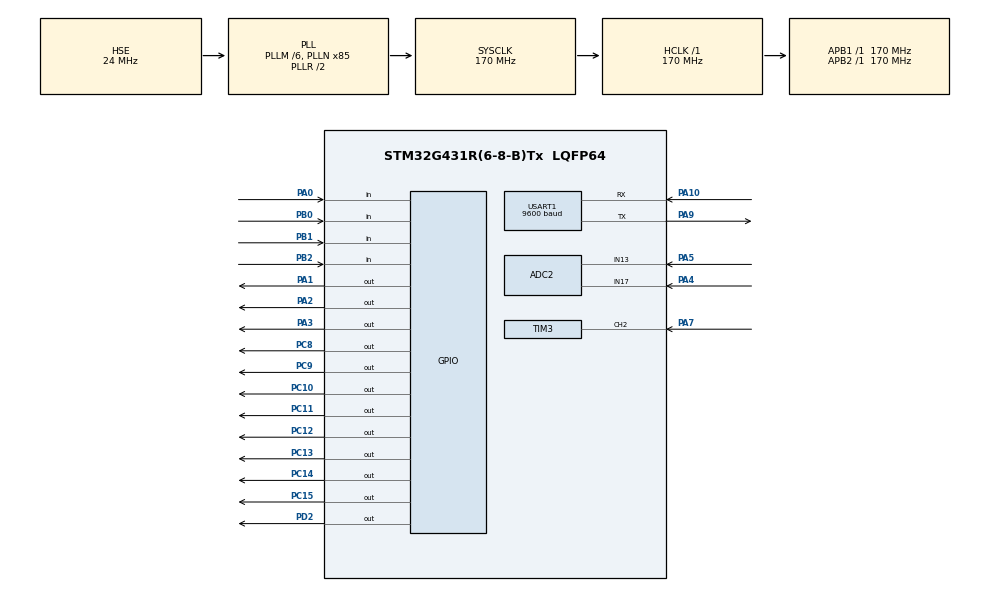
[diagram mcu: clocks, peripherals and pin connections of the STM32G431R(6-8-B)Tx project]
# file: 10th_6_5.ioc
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ADC2.Channel-0\#ChannelRegularConversion=ADC_CHANNEL_17
ADC2.Channel-1\#ChannelRegularConversion=ADC_CHANNEL_13
ADC2.DataAlign=ADC_DATAALIGN_RIGHT
ADC2.DiscontinuousConvMode=ENABLE
ADC2.EnableInjectedConversion=ENABLE
ADC2.InjNumberOfConversion=0
ADC2.NbrOfConversion=2
ADC2.NbrOfConversionFlag=1
ADC2.OffsetNumber-0\#ChannelRegularConversion=ADC_OFFSET_NONE
ADC2.OffsetNumber-1\#ChannelRegularConversion=ADC_OFFSET_NONE
ADC2.Rank-0\#ChannelRegularConversion=1
ADC2.Rank-1\#ChannelRegularConversion=2
ADC2.SamplingTime-0\#ChannelRegularConversion=ADC_SAMPLETIME_47CYCLES_5
ADC2.SamplingTime-1\#ChannelRegularConversion=ADC_SAMPLETIME_47CYCLES_5
Mcu.Family=STM32G4
Mcu.Name=STM32G431R(6-8-B)Tx
Mcu.Package=LQFP64
NVIC.PriorityGroup=NVIC_PRIORITYGROUP_4
NVIC.TIM1_UP_TIM16_IRQn=true\:0\:0\:false\:false\:true\:true\:true\:true
NVIC.TIM3_IRQn=true\:0\:0\:false\:false\:true\:true\:true\:true
NVIC.USART1_IRQn=true\:0\:0\:false\:false\:true\:true\:true\:true
PA0.Signal=GPIO_Input
PA1.Signal=GPIO_Output
PA10.Mode=Asynchronous
PA10.Signal=USART1_RX
PA2.Signal=GPIO_Output
PA3.Signal=GPIO_Output
PA4.Mode=IN17-Single-Ended
PA4.Signal=ADC2_IN17
PA5.Mode=IN13-Single-Ended
PA5.Signal=ADC2_IN13
PA7.Signal=S_TIM3_CH2
PA9.Mode=Asynchronous
PA9.Signal=USART1_TX
PB0.Signal=GPIO_Input
PB1.Signal=GPIO_Input
PB2.Signal=GPIO_Input
PC10.Signal=GPIO_Output
PC11.Signal=GPIO_Output
PC12.Signal=GPIO_Output
PC13.Signal=GPIO_Output
PC14-OSC32_IN.Signal=GPIO_Output
PC15-OSC32_OUT.Signal=GPIO_Output
PC8.Signal=GPIO_Output
PC9.Signal=GPIO_Output
PD2.Signal=GPIO_Output
PF0-OSC_IN.Mode=HSE-External-Oscillator
PF0-OSC_IN.Signal=RCC_OSC_IN
PF1-OSC_OUT.Mode=HSE-External-Oscillator
PF1-OSC_OUT.Signal=RCC_OSC_OUT
ProjectManager.HeapSize=0x200
ProjectManager.StackSize=0x400
ProjectManager.TargetToolchain=MDK-ARM V5.32
RCC.ADC12Freq_Value=170000000
RCC.AHBFreq_Value=170000000
RCC.APB1Freq_Value=170000000
RCC.APB1TimFreq_Value=170000000
RCC.APB2Freq_Value=170000000
RCC.APB2TimFreq_Value=170000000
RCC.CortexFreq_Value=170000000
RCC.EXTERNAL_CLOCK_VALUE=12288000
RCC.HCLKFreq_Value=170000000
RCC.HSE_VALUE=24000000
RCC.HSI48_VALUE=48000000
RCC.HSI_VALUE=16000000
RCC.LSE_VALUE=32768
RCC.PLLM=RCC_PLLM_DIV6
RCC.PLLN=85
RCC.PLLSourceVirtual=RCC_PLLSOURCE_HSE
RCC.SYSCLKFreq_VALUE=170000000
RCC.SYSCLKSource=RCC_SYSCLKSOURCE_PLLCLK
RCC.USBFreq_Value=170000000
RCC.VCOOutputFreq_Value=340000000
SH.S_TIM3_CH2.0=TIM3_CH2,Input_Capture2_from_TI2
TIM1.PeriodNoDither=9999
TIM1.Prescaler=169
TIM3.Channel-Input_Capture2_from_TI2=TIM_CHANNEL_2
USART1.BaudRate=9600
USART1.VirtualMode-Asynchronous=VM_ASYNC
VP_SYS_VS_DBSignals.Mode=DisableDeadBatterySignals
VP_TIM1_VS_ClockSourceINT.Mode=Internal
board=custom

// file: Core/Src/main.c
/* USER CODE BEGIN Header */
/**
  ******************************************************************************
  * @file           : main.c
  * @brief          : Main program body
  ******************************************************************************
  * @attention
  *
  * Copyright (c) 2023 STMicroelectronics.
  * All rights reserved.
  *
  * This software is licensed under terms that can be found in the LICENSE file
  * in the root directory of this software component.
  * If no LICENSE file comes with this software, it is provided AS-IS.
  *
  ******************************************************************************
  */
/* USER CODE END Header */
#include "main.h"
#include "adc.h"
#include "tim.h"
#include "usart.h"
#include "gpio.h"

/* USER CODE BEGIN Includes */

#include "stdio.h"
#include "i2c_hal.h"
#include "lcd.h"
#include "string.h"
#include "ds18b20_hal.h"

/* USER CODE END Includes */

/* USER CODE BEGIN PTD */
int
		Change_N,
		Key_presst[4]={0};
float
		Voltage_pa4,
		Voltage_pa5,
		Temp,
		Duty_pa7
		;
char
		Temp_maxT,
		Compare_X,
		Temp_lastmaxX,
		Compare_lastT,
		Flag_interface=0,
		Key_state=0,
		line[10][21];
uint8_t
		Rx_buff,
		Change_Nl,
		Change_Nh,
		Flag_nixie=0,
		Flag_highlight=2;
	static float Ic_state=0,value1,value2,value3;
#define SERH HAL_GPIO_WritePin(GPIOA,GPIO_PIN_1,GPIO_PIN_SET)
#define SERL HAL_GPIO_WritePin(GPIOA,GPIO_PIN_1,GPIO_PIN_RESET)

#define SCKH HAL_GPIO_WritePin(GPIOA,GPIO_PIN_3,GPIO_PIN_SET)
#define SCKL HAL_GPIO_WritePin(GPIOA,GPIO_PIN_3,GPIO_PIN_RESET)

#define RCKH HAL_GPIO_WritePin(GPIOA,GPIO_PIN_2,GPIO_PIN_SET)
#define RCKL HAL_GPIO_WritePin(GPIOA,GPIO_PIN_2,GPIO_PIN_RESET)

const uint8_t Nixie_buff[] = {0x3F,0x06,0x5B,0x4F,0x66,0x6D,0x7D,0x07,0x7F,0x6F,0x77,0x7c,0x39};

/* USER CODE END PTD */

void SystemClock_Config(void);
/* USER CODE BEGIN PFP */

float Get_voltage(void)
{
	float value;
	value=HAL_ADC_GetValue(&hadc2);
	HAL_ADC_Start_IT(&hadc2);
	return value*3.3f/4096.0f;
}

void Nixie(uint8_t a,uint8_t b,uint8_t c,uint8_t d)
{
	int value;
	if(d==1)value=(Nixie_buff[c]<<16) | (Nixie_buff[b]<<8) | Nixie_buff[a] | 0x80;
	else if(d==2)value=(Nixie_buff[c]<<16) | (Nixie_buff[b]<<8) | Nixie_buff[a] | 0x80<<8;
	else if(d==3)value=(Nixie_buff[c]<<16) | (Nixie_buff[b]<<8) | Nixie_buff[a] | 0x80<<16;
	else value=(Nixie_buff[c]<<16) | (Nixie_buff[b]<<8) | Nixie_buff[a];
	for(uint8_t i=0;i<24;i++)
	{
		if(value & 0x800000)
			SERH;
		else
			SERL;
		SCKH;
		SCKL;
		value<<=1;
	}
	RCKH;
	RCKL;
}

void Highlight(uint8_t linenum)
{
	char i=0;
	for(;i<linenum;i++)
	LCD_DisplayStringLine(i*24,(uint8_t *)line[i]);
	LCD_SetBackColor(Yellow);
	LCD_DisplayStringLine(i*24,(uint8_t *)line[i]);
	LCD_SetBackColor(Black);
	for(i=i+1;i<10;i++)
	LCD_DisplayStringLine(i*24,(uint8_t *)line[i]);
}

void Data_interface(void)
{
	sprintf(line[0],"       Main         ");
	sprintf(line[1],"                    ");
	sprintf(line[2],"   AO1:%.1f            ",Voltage_pa4);
	sprintf(line[3],"   AO2:%.1f            ",Voltage_pa5);
	sprintf(line[4],"   PWM2:%d%%           ",(int)(Duty_pa7*100.0f));

	sprintf(line[5],"   Temp:%.2f         ",Temp);
	sprintf(line[6],"   N:%d               ",Change_N);
	sprintf(line[7],"%.1f %.1f             ",value1,value2);
	sprintf(line[8],"%.1f %.2f               ",value3,Duty_pa7);
	sprintf(line[9],"                    ");
}

void Para_interface(void)
{
	sprintf(line[0],"       Para         ");
	sprintf(line[1],"                    ");
	sprintf(line[2],"   T:%d              ",Temp_maxT);
	sprintf(line[3],"   X:AO%d            ",Compare_X);
	sprintf(line[4],"                    ");

	sprintf(line[5],"                    ");
	sprintf(line[6],"                    ");
	sprintf(line[7],"                    ");
	sprintf(line[8],"                    ");
	sprintf(line[9],"                    ");
}

void Lcd_dis(void)
{
	for(char i=0;i<10;i++)
	LCD_DisplayStringLine(i*24,(uint8_t *)line[i]);
}

uint8_t Key_scan(void)
{
			 if(HAL_GPIO_ReadPin(GPIOB,GPIO_PIN_0)==0)Key_presst[0]++;
	else if(HAL_GPIO_ReadPin(GPIOB,GPIO_PIN_0)==1 && Key_presst[0]>=5){Key_presst[0]=0;return 1;}
	else if(HAL_GPIO_ReadPin(GPIOB,GPIO_PIN_1)==0)Key_presst[1]++;
	else if(HAL_GPIO_ReadPin(GPIOB,GPIO_PIN_1)==1 && Key_presst[1]>=5){Key_presst[1]=0;return 2;}
	else if(HAL_GPIO_ReadPin(GPIOB,GPIO_PIN_2)==0 && Key_presst[2]>=70){Key_presst[2]++;return 5;}
	else if(HAL_GPIO_ReadPin(GPIOB,GPIO_PIN_2)==0)Key_presst[2]++;
	else if(HAL_GPIO_ReadPin(GPIOB,GPIO_PIN_2)==1 && Key_presst[2]>=5){Key_presst[2]=0;return 3;}
	else if(HAL_GPIO_ReadPin(GPIOA,GPIO_PIN_0)==0 && Key_presst[3]>=70){Key_presst[3]++;return 6;}
	else if(HAL_GPIO_ReadPin(GPIOA,GPIO_PIN_0)==0)Key_presst[3]++;
	else if(HAL_GPIO_ReadPin(GPIOA,GPIO_PIN_0)==1 && Key_presst[3]>=5){Key_presst[3]=0;return 4;}
	else {Key_presst[0]=0,Key_presst[1]=0,Key_presst[2]=0,Key_presst[3]=0;}
	return 0;
}

void Write_rom(uint8_t add,uint8_t value)
{
	I2CStart();
	I2CSendByte(0xa0);
	I2CWaitAck();

	I2CSendByte(add);
	I2CWaitAck();

	I2CSendByte(value);
	I2CWaitAck();
	I2CStop();
}

uint8_t Read_rom(uint8_t add)
{
	uint8_t value;
	I2CStart();
	I2CSendByte(0xa0);
	I2CWaitAck();

	I2CSendByte(add);
	I2CWaitAck();

	I2CStart();
	I2CSendByte(0xa1);
	I2CWaitAck();

	value=I2CReceiveByte();
	I2CWaitAck();
	I2CStop();
	return value;
}

void HAL_TIM_IC_CaptureCallback(TIM_HandleTypeDef *htim)
{
	static int valuehigh,valuelow;
	if(htim==&htim3)
	{
		if(Ic_state==0)
		{
			value1=__HAL_TIM_GET_COMPARE(&htim3,TIM_CHANNEL_2);//xia
			Ic_state=1;
			if(value1>value3)valuehigh=value1-value3;
			else valuehigh=65535+value1-value3;
		}
		else if(Ic_state==1)
		{

			value2=__HAL_TIM_GET_COMPARE(&htim3,TIM_CHANNEL_2);//xia
			__HAL_TIM_SET_CAPTUREPOLARITY(&htim3,TIM_CHANNEL_2,TIM_TRIGGERPOLARITY_FALLING);
			Duty_pa7=valuehigh*1.0f/((valuehigh+valuelow)*1.0f);
			Ic_state=2;
		}
		else if(Ic_state==2)
		{

			value3=__HAL_TIM_GET_COMPARE(&htim3,TIM_CHANNEL_2);//shang
			__HAL_TIM_SET_CAPTUREPOLARITY(&htim3,TIM_CHANNEL_2,TIM_TRIGGERPOLARITY_RISING);
			if(value3>value2)valuelow=value3-value2;
			else valuelow=value3-value2+65535;
			Ic_state=0;
		}
	}
}

void HAL_TIM_PeriodElapsedCallback(TIM_HandleTypeDef *htim)
{
	static uint8_t keyt=0,nixiet=0,uartt=0,adct=0;
	uint8_t TXT[30];
	if(htim==&htim1)
	{
		Key_state=Key_scan();
		if(Key_state==1)Flag_interface=!Flag_interface;
		else if(Key_state==2 && Flag_interface)Flag_highlight=++Flag_highlight>3?2:Flag_highlight;
		else if(Key_state==3 && Flag_interface && Flag_highlight==2)
		{
			Temp_maxT++;
			if(Temp_maxT>40)Temp_maxT=40;
		}
		else if(Key_state==3 && Flag_interface && Flag_highlight==3)Compare_X=++Compare_X>2?1:Compare_X;
		else if(Key_state==4 && Flag_interface && Flag_highlight==2)
		{
			Temp_maxT--;
			if(Temp_maxT<20)Temp_maxT=20;
		}
		else if(Key_state==4 && Flag_interface && Flag_highlight==3)Compare_X=++Compare_X>2?1:Compare_X;
		else if(++keyt>12 && Key_state==5 && Flag_interface && Flag_highlight==2)
		{
			Temp_maxT++;
			if(Temp_maxT>40)Temp_maxT=40;
			keyt=0;
		}
		else if(++keyt>12 && Key_state==6 && Flag_interface && Flag_highlight==2)
		{
			Temp_maxT--;
			if(Temp_maxT<20)Temp_maxT=20;
			keyt=0;
		}
		if(++nixiet>=200)Flag_nixie=!Flag_nixie,nixiet=0;

		if(++adct==5)Voltage_pa4=Get_voltage();
		if(adct>=10)Voltage_pa5=Get_voltage(),adct=0;

		if(++uartt>=100 && Compare_X==1 && Voltage_pa4>Duty_pa7*3.3f)
		{
			uartt=0;
			sprintf((char *)TXT,"$%.2f\r\n",Temp);
			HAL_UART_Transmit_IT(&huart1,TXT,strlen((char *)TXT));
		}
		else if(++uartt>=100 && Compare_X==2 && Voltage_pa5>Duty_pa7*3.3f)
		{
			uartt=0;
			sprintf((char *)TXT,"$%.2f\r\n",Temp);
			HAL_UART_Transmit_IT(&huart1,TXT,strlen((char *)TXT));
		}
	}
}

void HAL_UART_RxCpltCallback(UART_HandleTypeDef *huart)
{
	static uint8_t Rx_state=0,TXT[30];
	if(huart==&huart1)
	{
		HAL_UART_Receive_IT(&huart1,&Rx_buff,1);
		if(Rx_buff=='S' && Rx_state==0)Rx_state=1;
		else if(Rx_buff=='T' && Rx_state==1)Rx_state=2;
		else if(Rx_buff=='\r' && Rx_state==2)Rx_state=3;
		else if(Rx_buff=='\n' && Rx_state==3)
		{
			Rx_state=0;
			sprintf((char *)TXT,"$%.2f\r\n",Temp);
			HAL_UART_Transmit_IT(&huart1,TXT,strlen((char *)TXT));
		}
		else if(Rx_buff=='P' && Rx_state==0)Rx_state=1;
		else if(Rx_buff=='A' && Rx_state==1)Rx_state=2;
		else if(Rx_buff=='R' && Rx_state==2)Rx_state=3;
		else if(Rx_buff=='A' && Rx_state==3)Rx_state=4;
		else if(Rx_buff=='\r' && Rx_state==4)Rx_state=5;
		else if(Rx_buff=='\n' && Rx_state==5)
		{
			Rx_state=0;
			sprintf((char *)TXT,"#%d,AO%d\r\n",Temp_maxT,Compare_X);
			HAL_UART_Transmit_IT(&huart1,TXT,strlen((char *)TXT));
		}
		else Rx_state=0;
//		sprintf((char *)TXT,"state:%d\r\n",Rx_state);
//		HAL_UART_Transmit_IT(&huart1,TXT,strlen((char *)TXT));
//		HAL_UART_Transmit_IT(&huart1,&Rx_buff,1);

	}
}

/* USER CODE END PFP */

int main(void)
{

  /* MCU Configuration--------------------------------------------------------*/

  /* Reset of all peripherals, Initializes the Flash interface and the Systick. */
  HAL_Init();

  /* Configure the system clock */
  SystemClock_Config();

  /* Initialize all configured peripherals */
  MX_GPIO_Init();
  MX_ADC2_Init();
  MX_TIM1_Init();
  MX_TIM3_Init();
  MX_USART1_UART_Init();
  /* USER CODE BEGIN 2 */
	ds18b20_init_x();
	I2CInit();
	LCD_Init();
	LCD_SetBackColor(Black);
	LCD_SetTextColor(White);
	HAL_TIM_IC_Start_IT(&htim3,TIM_CHANNEL_2);
	HAL_TIM_Base_Start_IT(&htim1);
	HAL_UART_Receive_IT(&huart1,&Rx_buff,1);
	Write_rom(0,99);
	HAL_Delay(5);
	Change_N=Read_rom(0);
	HAL_Delay(5);
  /* USER CODE END 2 */

  /* Infinite loop */
  while (1)
  {

    /* USER CODE BEGIN 3 */

		if(Flag_nixie)Nixie(12,Temp_maxT/10,Temp_maxT%10,6);
		else Nixie(10,0,Compare_X,6);
		Temp=Read_temp();
		if(Flag_interface)Para_interface(),Highlight(Flag_highlight);
		else Data_interface(),Lcd_dis();
  }
  /* USER CODE END 3 */
}

void SystemClock_Config(void)
{
  RCC_OscInitTypeDef RCC_OscInitStruct = {0};
  RCC_ClkInitTypeDef RCC_ClkInitStruct = {0};

  /** Configure the main internal regulator output voltage
  */
  HAL_PWREx_ControlVoltageScaling(PWR_REGULATOR_VOLTAGE_SCALE1_BOOST);

  /** Initializes the RCC Oscillators according to the specified parameters
  * in the RCC_OscInitTypeDef structure.
  */
  RCC_OscInitStruct.OscillatorType = RCC_OSCILLATORTYPE_HSE;
  RCC_OscInitStruct.HSEState = RCC_HSE_ON;
  RCC_OscInitStruct.PLL.PLLState = RCC_PLL_ON;
  RCC_OscInitStruct.PLL.PLLSource = RCC_PLLSOURCE_HSE;
  RCC_OscInitStruct.PLL.PLLM = RCC_PLLM_DIV6;
  RCC_OscInitStruct.PLL.PLLN = 85;
  RCC_OscInitStruct.PLL.PLLP = RCC_PLLP_DIV2;
  RCC_OscInitStruct.PLL.PLLQ = RCC_PLLQ_DIV2;
  RCC_OscInitStruct.PLL.PLLR = RCC_PLLR_DIV2;
  if (HAL_RCC_OscConfig(&RCC_OscInitStruct) != HAL_OK)
  {
    Error_Handler();
  }

  /** Initializes the CPU, AHB and APB buses clocks
  */
  RCC_ClkInitStruct.ClockType = RCC_CLOCKTYPE_HCLK|RCC_CLOCKTYPE_SYSCLK
                              |RCC_CLOCKTYPE_PCLK1|RCC_CLOCKTYPE_PCLK2;
  RCC_ClkInitStruct.SYSCLKSource = RCC_SYSCLKSOURCE_PLLCLK;
  RCC_ClkInitStruct.AHBCLKDivider = RCC_SYSCLK_DIV1;
  RCC_ClkInitStruct.APB1CLKDivider = RCC_HCLK_DIV1;
  RCC_ClkInitStruct.APB2CLKDivider = RCC_HCLK_DIV1;

  if (HAL_RCC_ClockConfig(&RCC_ClkInitStruct, FLASH_LATENCY_4) != HAL_OK)
  {
    Error_Handler();
  }
}

void Error_Handler(void)
{
  __disable_irq();
  while (1)
  {
  }
}
